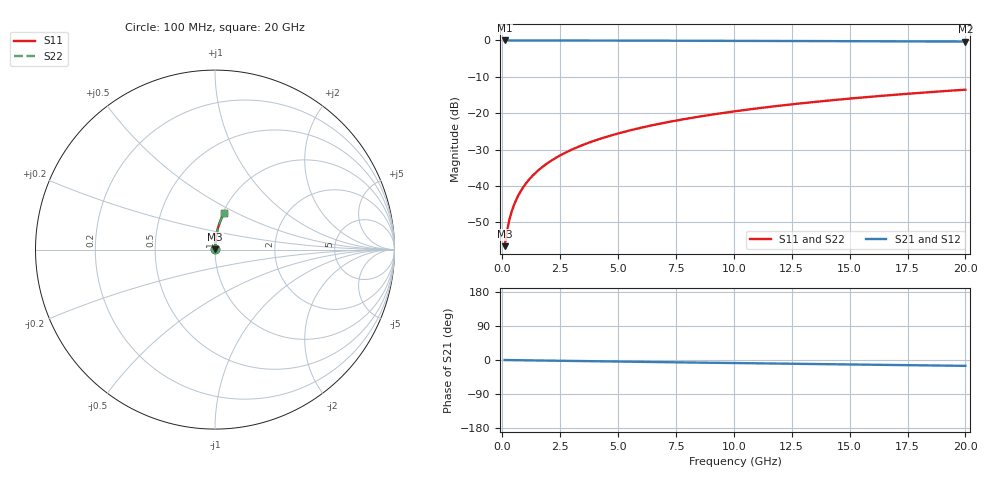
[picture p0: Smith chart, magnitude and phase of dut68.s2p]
! Touchstone file exported from HFSS 2024.1.0
!  File:  C:/UserFiles/LocalFiles/RDL_TSV_Batchsim/temp_RDL_top_68_1778681995.aedt
!  Generated:  10:22:21 PM May 13, 2026
!  Design:  RDL_top
!  Project:  temp_RDL_top_68_1778681995
!  Setup:  Setup1
!  Solution:  Sweep
! Variables:
!  dtsv = 10.80580581um
!  hbump = 3um
!  htsv = 91.98um
!  ldown = 100um
!  lrdl = 147.46um
!  p = 40
!  p1 = 56.31um
!  rhole = 1um
!  t = 450um
!  tdown = 3.915915916um
!  trdl = 4.79um
!  wdown = 15.38538539um
!  wrdl = 11.88um
# GHz S MA R 50.000000
! Terminal data exported
! Port[1] = Box2_T1
! Port[2] = Box2_T2
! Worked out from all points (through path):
!   200 points, 100 MHz to 20 GHz, reference 50 ohm
!   highest |S21| = -0.01 dB at 100 MHz (marker M1); lowest = -0.3 dB at 20 GHz (marker M2)
!   group delay of S21, straight-line fit = 2.13 ps
!   lowest |S11| = -56.5 dB at 100 MHz (marker M3), VSWR 1.00, Z = 50.1 + j0.108 ohm
!   |S11| at or under -10 dB: start of sweep to end of sweep
!   |S22| runs from -56.5 to -13.5 dB; largest |S21 - S12| = 4.2e-15
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0.1  0.001492 46.4  0.999 -0.1  0.999 -0.1  0.001492 46.4
! Gamma 0 0 0 0
! Port Impedance 50 0 50 0
0.2  0.002395 64.0  0.9989 -0.2  0.9989 -0.2  0.002395 64.0
0.3  0.003389 71.5  0.9989 -0.3  0.9989 -0.3  0.003389 71.5
0.4  0.004408 75.5  0.9989 -0.3  0.9989 -0.3  0.004408 75.5
0.5  0.005437 78.1  0.9989 -0.4  0.9989 -0.4  0.005437 78.1
0.7  0.007507 81.0  0.9988 -0.6  0.9988 -0.6  0.007507 81.0
0.8  0.008546 82.0  0.9988 -0.7  0.9988 -0.7  0.008546 82.0
1  0.01063 83.3  0.9987 -0.8  0.9987 -0.8  0.01063 83.3
1.2  0.01272 84.1  0.9986 -1.0  0.9986 -1.0  0.01272 84.1
1.4  0.01481 84.7  0.9985 -1.2  0.9985 -1.2  0.01481 84.7
1.7  0.01796 85.3  0.9983 -1.4  0.9983 -1.4  0.01796 85.3
2  0.02111 85.7  0.9981 -1.7  0.9981 -1.7  0.02111 85.7
2.7  0.02846 86.0  0.9976 -2.3  0.9976 -2.3  0.02846 86.0
3.5  0.03687 86.1  0.9968 -2.9  0.9968 -2.9  0.03687 86.1
4.2  0.04425 85.9  0.996 -3.5  0.996 -3.5  0.04425 85.9
5  0.05269 85.7  0.9949 -4.1  0.9949 -4.1  0.05269 85.7
6.8  0.07175 84.9  0.9921 -5.6  0.9921 -5.6  0.07175 84.9
8.3  0.0877 84.1  0.9896 -6.7  0.9896 -6.7  0.0877 84.1
10.1  0.1069 83.0  0.9862 -8.1  0.9862 -8.1  0.1069 83.0
13.4  0.142 80.7  0.9795 -10.6  0.9795 -10.6  0.142 80.7
16.7  0.1766 78.4  0.9721 -13.0  0.9721 -13.0  0.1766 78.4
20  0.2106 75.9  0.9639 -15.4  0.9639 -15.4  0.2106 75.9
